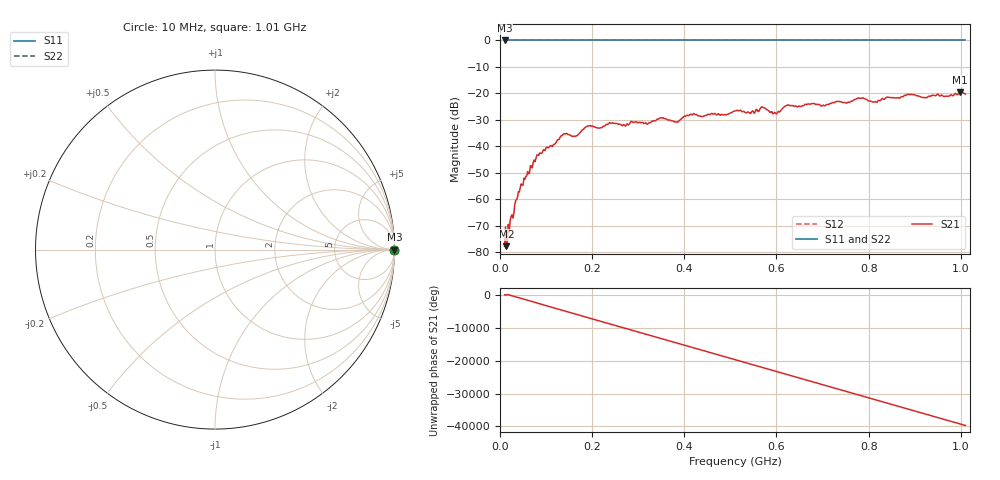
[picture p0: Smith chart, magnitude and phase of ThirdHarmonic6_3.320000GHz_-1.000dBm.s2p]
! 8/17/2025 10:24:07 AM
! C:\ANRITSUVNA\TEMP\TEMP.S2P
! CHANNEL.1
! TR.MEASUREMENT
! RAW.DATA
! RF.CORRECTION.OFF
! AVERAGING.OFF
! IF.BANDWIDTH: 5KHZ
! SWEEPTYPE:  FREQ.SWEEP(Linear)
! Reference Plane Port Info
! PORT:  PORT1  PORT2
! DISTANCE:  0  m  0  m
! TIME:  0  s  0  s
! PHASE.OFFSET:  0  deg.  0  deg.
! LOSS:  0  dB  0  dB
! REF.LOSS:  0  dB  0  dB
! REF.FREQ:  0  Hz  0  Hz
! Power Info
! POWER:  -20  dBm  -20  dBm
! EFF.POWER:  -20  dBm  -20  dBm
! SOURCE.ATTEN:  0  dB  0  dB
! TEST.ATTEN:  0  dB  0  dB
# GHZ S RI R 50.0
! FREQ.GHZ  S11RE  S11IM  S21RE  S21IM  S12RE  S12IM  S22RE  S22IM
!; PortSelection: Port_12
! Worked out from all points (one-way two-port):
!   501 points, 10 MHz to 1.01 GHz, reference 50 ohm
!   highest |S21| = -19.54 dB at 998 MHz (marker M1); lowest = -77.6 dB at 14 MHz (marker M2)
!   lowest |S11| = 0.0 dB at 10 MHz (marker M3)
!   |S11| at or under -10 dB: nowhere
!   |S22| runs from 0.0 to 0.0 dB; largest |S21 - S12| = 1.1
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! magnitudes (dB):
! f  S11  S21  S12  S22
! 10 MHz  0.0  -77.6  0.0  0.0
! 14 MHz  0.0  -77.6  0.0  0.0
! 44 MHz  0.0  -55.5  0.0  0.0
! 82 MHz  0.0  -43.2  0.0  0.0
! 136 MHz  0.0  -35.7  0.0  0.0
! 162 MHz  0.0  -36.1  0.0  0.0
! 178 MHz  0.0  -33.9  0.0  0.0
! 192 MHz  0.0  -32.2  0.0  0.0
! 344 MHz  0.0  -29.7  0.0  0.0
! 384 MHz  0.0  -30.7  0.0  0.0
! 416 MHz  0.0  -28.1  0.0  0.0
! 510 MHz  0.0  -26.6  0.0  0.0
! 548 MHz  0.0  -26.6  0.0  0.0
! 570 MHz  0.0  -25.2  0.0  0.0
! 596 MHz  0.0  -27.1  0.0  0.0
! 622 MHz  0.0  -24.5  0.0  0.0
! 678 MHz  0.0  -23.9  0.0  0.0
! 782 MHz  0.0  -21.8  0.0  0.0
! 814 MHz  0.0  -23.1  0.0  0.0
! 844 MHz  0.0  -21.5  0.0  0.0
! 998 MHz  0.0  -19.5  0.0  0.0
! 1.01 GHz  0.0  -20.2  0.0  0.0
